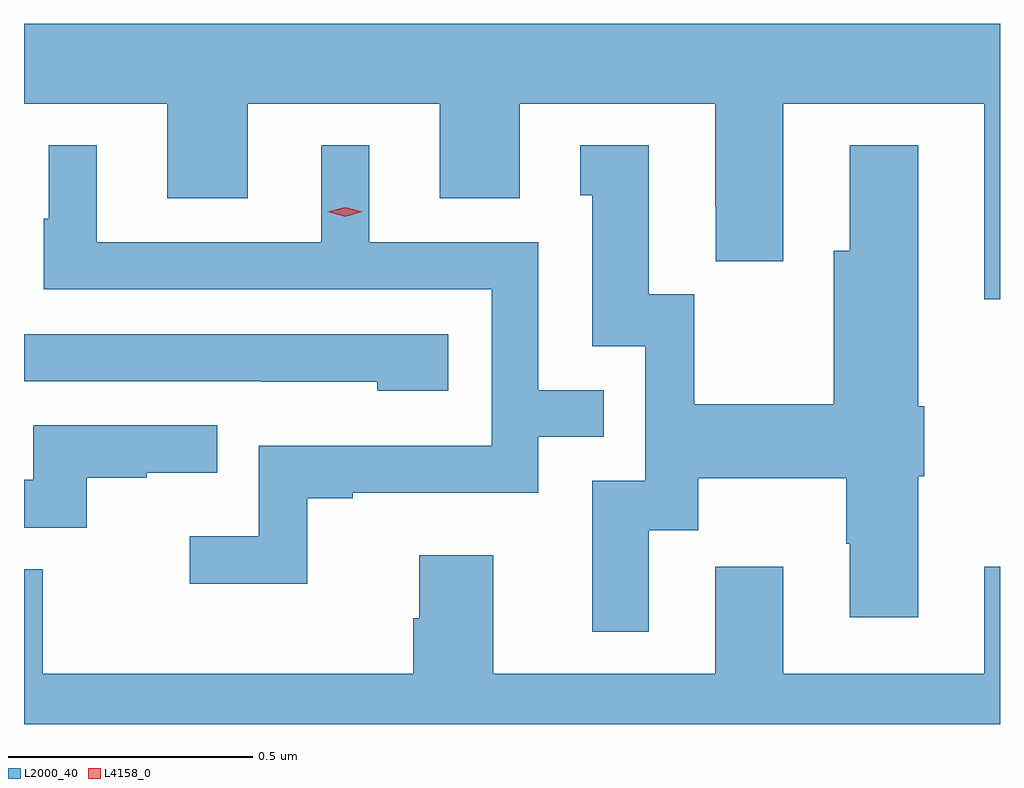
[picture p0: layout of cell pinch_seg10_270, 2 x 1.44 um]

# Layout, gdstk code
import gdstk
lib = gdstk.Library(unit=1e-6, precision=1e-09)
def P(c, l, *ps):  # polygons
    for p in ps: c.add(gdstk.Polygon(p, *l))
L2000_40 = (2000, 40)
L4158_0 = (4158, 0)

pinch_seg10_270 = lib.new_cell('pinch_seg10_270')
P(pinch_seg10_270, L2000_40, [(568.069,1297.816),(566.069,1297.816),(566.069,1297.652),(566.363,1297.652),(566.363,1297.458),(566.527,1297.458),(566.527,1297.652),(566.921,1297.652),(566.921,1297.458),(567.085,1297.458),(567.085,1297.652),(567.485,1297.652),(567.485,1297.441),(567.487,1297.441),(567.487,1297.329),(567.625,1297.329),(567.625,1297.652),(568.037,1297.652),(568.037,1297.251),(568.069,1297.251)],
  [(566.649,1296.843),(566.743,1296.843),(566.743,1296.855),(567.123,1296.855),(567.123,1296.969),(567.257,1296.969),(567.257,1297.065),(567.123,1297.065),(567.123,1297.368),(566.776,1297.368),(566.776,1297.567),(566.678,1297.567),(566.678,1297.368),(566.218,1297.368),(566.218,1297.567),(566.12,1297.567),(566.12,1297.416),(566.109,1297.416),(566.109,1297.272),(567.027,1297.272),(567.027,1296.951),(566.55,1296.951),(566.55,1296.766),(566.409,1296.766),(566.409,1296.668),(566.649,1296.668)],
  [(567.349,1296.778),(567.451,1296.778),(567.451,1296.884),(567.754,1296.884),(567.754,1296.75),(567.761,1296.75),(567.761,1296.6),(567.901,1296.6),(567.901,1296.888),(567.914,1296.888),(567.914,1297.032),(567.901,1297.032),(567.901,1297.567),(567.761,1297.567),(567.761,1297.351),(567.728,1297.351),(567.728,1297.036),(567.442,1297.036),(567.442,1297.261),(567.349,1297.261),(567.349,1297.567),(567.209,1297.567),(567.209,1297.464),(567.233,1297.464),(567.233,1297.155),(567.342,1297.155),(567.342,1296.879),(567.233,1296.879),(567.233,1296.57),(567.349,1296.57)],
  [(566.938,1297.179),(566.069,1297.179),(566.069,1297.083),(566.557,1297.083),(566.557,1297.082),(566.793,1297.082),(566.793,1297.064),(566.938,1297.064)],
  [(566.198,1296.885),(566.321,1296.885),(566.321,1296.896),(566.465,1296.896),(566.465,1296.993),(566.088,1296.993),(566.088,1296.881),(566.069,1296.881),(566.069,1296.783),(566.198,1296.783)],
  [(568.069,1296.703),(568.037,1296.703),(568.037,1296.484),(567.625,1296.484),(567.625,1296.703),(567.485,1296.703),(567.485,1296.484),(567.031,1296.484),(567.031,1296.727),(566.879,1296.727),(566.879,1296.597),(566.867,1296.597),(566.867,1296.484),(566.107,1296.484),(566.107,1296.698),(566.069,1296.698),(566.069,1296.38),(568.069,1296.38)])
P(pinch_seg10_270, L4158_0, [(566.727,1297.42),(566.691,1297.43),(566.691,1297.43),(566.691,1297.43),(566.727,1297.44),(566.762,1297.43),(566.763,1297.43),(566.762,1297.43)])

lib.write_gds('pinch_seg10_270.gds')
